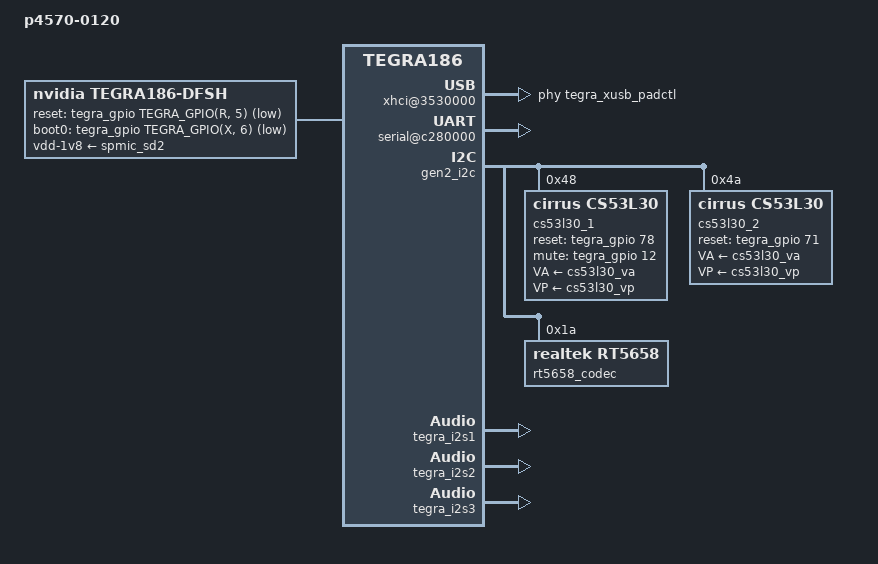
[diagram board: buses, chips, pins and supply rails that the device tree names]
/*
 * Copyright (c) 2016, NVIDIA CORPORATION.  All rights reserved.
 *
 * This program is free software; you can redistribute it and/or modify
 * it under the terms of the GNU General Public License as published by
 * the Free Software Foundation; version 2 of the License.
 *
 * This program is distributed in the hope that it will be useful, but WITHOUT
 * ANY WARRANTY; without even the implied warranty of MERCHANTABILITY or
 * FITNESS FOR A PARTICULAR PURPOSE.  See the GNU General Public License for
 * more details.
 */

#include "dt-bindings/sound/tegra-asoc-alt.h"
#include "tegra186-quill-p3310-1000-a00-00-base.dts"
#include "tegra186-modules/tegra186-super-module-e2614-p2597-1000-a00.dtsi"
#include "tegra186-modules/tegra186-df-camera.dtsi"

/ {
	model = "p4570-0120";
	nvidia,dtsfilename = __FILE__;

	dfsh {
		compatible = "nvidia,tegra186-dfsh";
		vdd-1v8-supply = <&spmic_sd2>;
		dfsh,reset-gpio =
			<&tegra_gpio TEGRA_GPIO(R, 5) GPIO_ACTIVE_LOW>;
		dfsh,boot0-gpio =
			<&tegra_gpio TEGRA_GPIO(X, 6) GPIO_ACTIVE_LOW>;
		status = "okay";
	};

	gpio@2200000 {
		camera-control {
			gpio-output-low = <
				TEGRA_GPIO(Q, 5)
				TEGRA_GPIO(X, 6)
				TEGRA_GPIO(R, 5)
				TEGRA_GPIO(X, 5)
				TEGRA_GPIO(R, 1)
				TEGRA_GPIO(L, 6)
				>;
		};
	};

	backlight {
		status = "disabled";
	};

	sdhci@3400000 {
		/delete-property/ wp-gpios;
	};

	fixed-regulators {
		vdd_fan: regulator@13 {
			gpio = <&tegra_gpio TEGRA_GPIO(I, 5) 0>;
			enable-active-high;
		};
                vdd_usb2_5v: regulator@17 {
			gpio = "";
			regulator-always-on;
			regulator-boot-on;
		};

		cs53l30_vp: regulator@14 {
			regulator-min-microvolt = <3300000>;
			regulator-max-microvolt = <3300000>;
			regulator-always-on;
		};

		cs53l30_va: regulator@101 {
			regulator-min-microvolt = <1800000>;
			regulator-max-microvolt = <1800000>;
			regulator-always-on;
		};
	};

	pwm-fan {
		vdd-fan-supply = <&vdd_fan>;
	};

	i2c@3160000 {
		lp8557-backlight-s-wuxga-8-0@2c {
			status = "disabled";
		};
		ina3221x@40 {
			status = "disabled";
		};
		ina3221x@41 {
			status = "disabled";
		};
		ina3221x@43 {
			status = "disabled";
		};
	};

	xhci@3530000 {
		status = "okay";
		phys = <&tegra_xusb_padctl TEGRA_PADCTL_PHY_UTMI_P(0)>,
			<&tegra_xusb_padctl TEGRA_PADCTL_PHY_UTMI_P(1)>,
			<&tegra_xusb_padctl TEGRA_PADCTL_PHY_UTMI_P(2)>;
		phy-names = "utmi-0", "utmi-1", "utmi-2";
	};

	pinctrl@3520000 {
		tegra_xusb_padctl_pinmux_default: pinmux {
			usb2-micro-AB-2 {
				nvidia,lanes = "otg-2";
				nvidia,function = "xusb";
				nvidia,port-cap = <TEGRA_PADCTL_PORT_HOST_ONLY>;
			};
			/* P4573 does not support usb 3.0 */
			usb3-std-A-port2 {
				status = "disabled";
			};
		};
	};

	plugin-manager {
		fragment-500-xusb-config {
			status = "disbled";
		};
		fragment-e3325-xusb {
			status = "disabled";
		};
		fragment-500-e3325-pcie {
			status = "disabled";
		};
	};
	pinmux@2430000 {
		pinctrl-names = "default";
		pinctrl-0 = <&pinmux_default>;
		pinmux_default: common {
			directdc1_out3_pq5 {
				nvidia,pins = "directdc1_out3_pq5";
				nvidia,function = "rsvd1";
				nvidia,pull = <TEGRA_PIN_PULL_NONE>;
				nvidia,tristate = <TEGRA_PIN_DISABLE>;
				nvidia,enable-input = <TEGRA_PIN_DISABLE>;
			};
			gp_pwm6_pl6 {
				nvidia,pins = "gp_pwm6_pl6";
				nvidia,function = "rsvd1";
				nvidia,pull = <TEGRA_PIN_PULL_NONE>;
				nvidia,tristate = <TEGRA_PIN_DISABLE>;
				nvidia,enable-input = <TEGRA_PIN_DISABLE>;
			};
			qspi_cs_n_pr5 {
				nvidia,pins = "qspi_cs_n_pr5";
				nvidia,function = "rsvd1";
				nvidia,pull = <TEGRA_PIN_PULL_NONE>;
				nvidia,tristate = <TEGRA_PIN_DISABLE>;
				nvidia,enable-input = <TEGRA_PIN_DISABLE>;
			};
		};
	};

	spdif_dit {
		status = "disabled";
	};

	serial@c280000 {
		status = "okay";
	};

	sound {
		status = "disabled";
	};

	sound_ref {
		compatible = "nvidia,tegra186-p4573-audio";
		nvidia,model = "t186-p4573-audio";
		status = "okay";

		nvidia,xbar = <&tegra_axbar>;
		nvidia,audio-routing =
			"AMIC1", "x MIC1 Bias",
			"x IN1_DMIC1", "AMIC1",
			"AMIC2", "x MIC2 Bias",
			"x IN2", "AMIC2",
			"AMIC3", "x MIC3 Bias",
			"x IN3_DMIC2", "AMIC3",
			"AMIC4", "x MIC4 Bias",
			"x IN4", "AMIC4",
			"AMIC5", "y MIC1 Bias",
			"y IN1_DMIC1", "AMIC5",
			"AMIC6", "y MIC2 Bias",
			"y IN2", "AMIC6",
			"AMIC7", "y MIC3 Bias",
			"y IN3_DMIC2", "AMIC7",
			"AMIC8", "y MIC4 Bias",
			"y IN4", "AMIC8",
			"Headset Stereo", "z HPOL",
			"Headset Stereo", "z HPOR",
			"Headset Mic", "z MICBIAS1",
			"z IN1P", "Headset Mic";

		nvidia,num-codec-link = <3>;

		nvidia,num-clk = <8>;
		nvidia,clk-rates = < 270950400	/* PLLA_x11025_RATE */
				     11289600	/* AUD_MCLK_x11025_RATE */
				     45158400	/* PLLA_OUT0_x11025_RATE */
				     45158400	/* AHUB_x11025_RATE */
				     245760000	/* PLLA_x8000_RATE */
				     12288000	/* AUD_MCLK_x8000_RATE */
				     49152000	/* PLLA_OUT0_x8000_RATE */
				     49152000 >;/* AHUB_x8000_RATE */
		clocks = <&tegra_car TEGRA186_CLK_PLLP_OUT0>,
			<&tegra_car TEGRA186_CLK_PLLA>,
			<&tegra_car TEGRA186_CLK_PLL_A_OUT0>,
			<&tegra_car TEGRA186_CLK_AHUB>,
			<&tegra_car TEGRA186_CLK_CLK_M>,
			<&tegra_car TEGRA186_CLK_AUD_MCLK>;
		clock-names = "pll_p_out1", "pll_a", "pll_a_out0", "ahub",
				"clk_m", "extern1";
		resets = <&tegra_car TEGRA186_RESET_AUD_MCLK>;
		reset-names = "extern1_rst";

		nvidia,dai-link-1 {
			link-name = "cs53l30-link1";
			cpu-dai = <&tegra_i2s1>;
			codec-dai = <&cs53l30_1>;
			cpu-dai-name = "I2S1";
			codec-dai-name = "cs53l30";
			format = "dsp_a";
			bitclock-slave;
			frame-slave;
			/* NB_IF: rising edge of bclk + frame sync at high */
			bitclock-noninversion;
			frame-inversion;
			bit-format = "s32_le";
			bclk_ratio = <0>;
			srate = <48000>;
			num-channel = <4>;
			name-prefix = "x";
		};

		nvidia,dai-link-2 {
			link-name = "cs53l30-link2";
			cpu-dai = <&tegra_i2s2>;
			codec-dai = <&cs53l30_2>;
			cpu-dai-name = "I2S2";
			codec-dai-name = "cs53l30";
			format = "dsp_a";
			bitclock-slave;
			frame-slave;
			/* NB_IF: rising edge of bclk + frame sync at high */
			bitclock-noninversion;
			frame-inversion;
			bit-format = "s32_le";
			bclk_ratio = <0>;
			srate = <48000>;
			num-channel = <4>;
			name-prefix = "y";
		};

		nvidia,dai-link-3 {
			link-name = "rt5658-link";
			cpu-dai = <&tegra_i2s3>;
			codec-dai = <&rt5658_codec>;
			cpu-dai-name = "I2S3";
			codec-dai-name = "rt5659-aif1";
			format = "i2s";
			bitclock-slave;
			frame-slave;
			bitclock-noninversion;
			frame-noninversion;
			bit-format = "s32_le";
			bclk_ratio = <0>;
			srate = <48000>;
			num-channel = <2>;
			name-prefix = "z";
		};
	};
};

&gen2_i2c {
	status = "okay";

	cs53l30_1: cs53l30@48 {
		compatible = "cirrus,cs53l30";
		reg = <0x48>;
		clocks = <&tegra_car TEGRA186_CLK_AUD_MCLK>;
		clock-names = "mclk";
		reset-gpios = <&tegra_gpio 78 0>;
		mute-gpios = <&tegra_gpio 12 0>;
		micbias-lvl = <1>;
		VA-supply = <&cs53l30_va>;
		VP-supply = <&cs53l30_vp>;
	};

	cs53l30_2: cs53l30@4A {
		compatible = "cirrus,cs53l30";
		reg = <0x4A>;
		clocks = <&tegra_car TEGRA186_CLK_AUD_MCLK>;
		clock-names = "mclk";
		reset-gpios = <&tegra_gpio 71 0>;
		micbias-lvl = <1>;
		VA-supply = <&cs53l30_va>;
		VP-supply = <&cs53l30_vp>;
	};

	rt5658_codec: rt5658@1A {
		compatible = "realtek,rt5658";
		reg = <0x1A>;
		clocks = <&tegra_car TEGRA186_CLK_AUD_MCLK>;
		clock-names = "mclk";
		realtek,dmic1-data-pin = <2>;
		realtek,jd-src = <1>;
	};
};

&tegra_i2s1 {
	/* 32 bits per slot */
	fsync-width = <31>;
	status = "okay";
};

&tegra_i2s2 {
	/* 32 bits per slot */
	fsync-width = <31>;
	status = "okay";
};

&tegra_i2s3 {
	/* 32 bits per slot */
	fsync-width = <31>;
	status = "okay";
};
